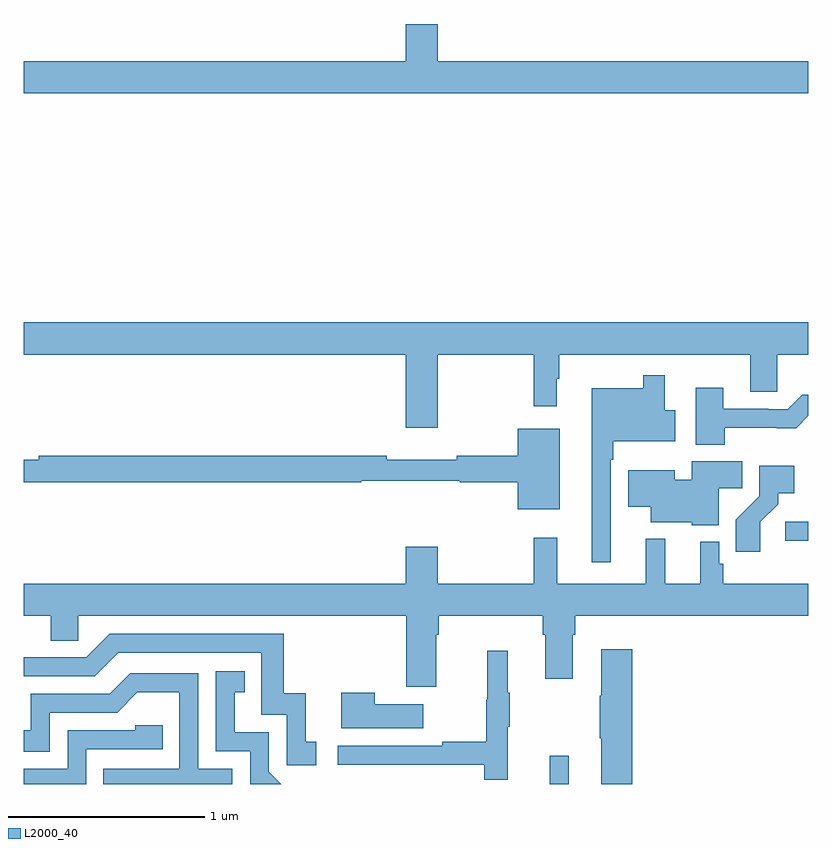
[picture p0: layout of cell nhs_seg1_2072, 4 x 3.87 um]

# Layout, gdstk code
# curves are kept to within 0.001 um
import gdstk
lib = gdstk.Library(unit=1e-6, precision=1e-09)
def R(c, l, rs):  # rectangles x0, y0, x1, y1
    for r in rs: c.add(gdstk.rectangle(r[:2], r[2:], *l))
def P(c, l, *ps):  # polygons
    for p in ps: c.add(gdstk.Polygon(p, *l))
L2000_40 = (2000, 40)

nhs_seg1_2072 = lib.new_cell('nhs_seg1_2072')
R(nhs_seg1_2072, L2000_40, [(225.681,560.199,225.778,560.344), (226.881,561.439,227,561.537)])
P(nhs_seg1_2072, L2000_40, [(227,563.884),(225.112,563.884),(225.112,564.073),(224.948,564.073),(224.948,563.884),(223,563.884),(223,563.72),(227,563.72)],
  [(223,562.388),(224.948,562.388),(224.948,562.014),(225.112,562.014),(225.112,562.388),(225.601,562.388),(225.601,562.125),(225.718,562.125),(225.718,562.265),(225.73,562.265),(225.73,562.388),(226.703,562.388),(226.703,562.198),(226.842,562.198),(226.842,562.388),(227,562.388),(227,562.552),(223,562.552)],
  [(225.993,561.851),(226.006,561.851),(226.006,561.947),(226.321,561.947),(226.321,562.105),(226.267,562.105),(226.267,562.282),(226.158,562.282),(226.158,562.216),(225.896,562.216),(225.896,561.33),(225.993,561.33)],
  [(226.575,562.014),(226.937,562.013),(227,562.076),(227,562.183),(226.969,562.183),(226.896,562.11),(226.796,562.11),(226.796,562.113),(226.567,562.113),(226.567,562.219),(226.427,562.219),(226.427,561.929),(226.575,561.929)],
  [(225.733,562.009),(225.518,562.009),(225.518,561.872),(225.208,561.872),(225.208,561.853),(224.852,561.853),(224.852,561.872),(223.078,561.872),(223.078,561.853),(223,561.853),(223,561.736),(224.722,561.736),(224.722,561.744),(225.222,561.744),(225.222,561.736),(225.518,561.736),(225.518,561.599),(225.733,561.599)],
  [(226.543,561.706),(226.664,561.706),(226.664,561.844),(226.406,561.844),(226.406,561.751),(226.318,561.751),(226.318,561.799),(226.082,561.799),(226.082,561.611),(226.196,561.611),(226.196,561.533),(226.406,561.533),(226.406,561.518),(226.543,561.518)],
  [(226.756,561.535),(226.846,561.625),(226.846,561.68),(226.927,561.68),(226.927,561.82),(226.749,561.82),(226.749,561.665),(226.63,561.546),(226.63,561.384),(226.756,561.384)],
  [(226.448,561.433),(226.448,561.22),(226.271,561.22),(226.271,561.448),(226.172,561.448),(226.172,561.22),(225.719,561.22),(225.719,561.454),(225.601,561.454),(225.601,561.22),(225.112,561.22),(225.112,561.409),(224.948,561.409),(224.948,561.22),(223,561.22),(223,561.056),(223.139,561.056),(223.139,560.929),(223.278,560.929),(223.278,561.056),(224.951,561.056),(224.951,560.694),(225.103,560.694),(225.103,560.96),(225.116,560.96),(225.116,561.056),(225.647,561.056),(225.647,560.96),(225.659,560.96),(225.659,560.736),(225.799,560.736),(225.799,560.96),(225.812,560.96),(225.812,561.056),(227,561.056),(227,561.22),(226.565,561.22),(226.565,561.321),(226.545,561.321),(226.545,561.433)],
  [(224.491,560.415),(224.438,560.415),(224.438,560.662),(224.327,560.662),(224.327,560.964),(223.44,560.964),(223.32,560.844),(223,560.844),(223,560.748),(223.362,560.748),(223.482,560.868),(224.211,560.868),(224.211,560.553),(224.34,560.553),(224.34,560.295),(224.491,560.295)],
  [(226.103,560.887),(225.944,560.887),(225.944,560.648),(225.937,560.648),(225.937,560.431),(225.944,560.431),(225.944,560.199),(226.103,560.199)],
  [(225.467,560.491),(225.478,560.491),(225.478,560.665),(225.467,560.665),(225.467,560.878),(225.364,560.878),(225.364,560.628),(225.357,560.628),(225.357,560.414),(225.133,560.414),(225.133,560.394),(224.601,560.394),(224.601,560.298),(225.349,560.298),(225.349,560.22),(225.467,560.22)],
  [(224.25,560.262),(224.25,560.463),(224.077,560.463),(224.077,560.667),(224.126,560.667),(224.126,560.773),(223.98,560.773),(223.98,560.367),(224.154,560.367),(224.154,560.199),(224.313,560.199)],
  [(224.064,560.277),(223.89,560.277),(223.89,560.763),(223.544,560.763),(223.439,560.658),(223.036,560.658),(223.036,560.473),(223,560.473),(223,560.364),(223.134,560.364),(223.134,560.562),(223.476,560.562),(223.58,560.666),(223.794,560.666),(223.794,560.277),(223.405,560.277),(223.405,560.199),(224.064,560.199)],
  [(225.037,560.605),(224.789,560.605),(224.789,560.665),(224.618,560.665),(224.618,560.483),(225.037,560.483)],
  [(223.32,560.376),(223.709,560.376),(223.709,560.499),(223.569,560.499),(223.569,560.472),(223.224,560.472),(223.224,560.277),(223,560.277),(223,560.199),(223.32,560.199)])

lib.write_gds('nhs_seg1_2072.gds')
